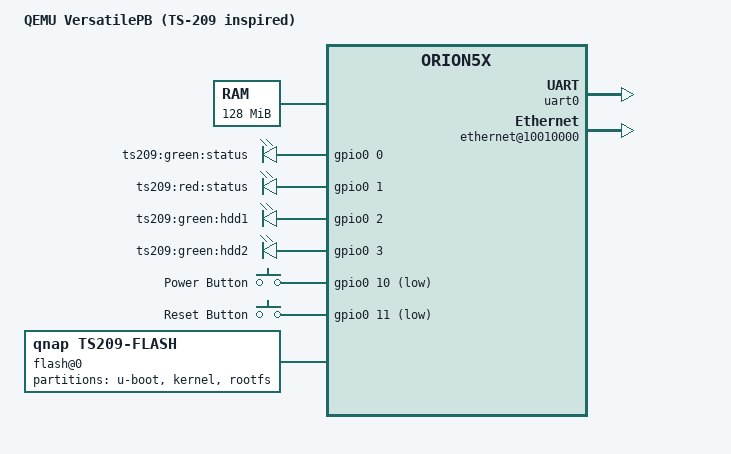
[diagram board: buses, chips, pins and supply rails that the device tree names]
/dts-v1/;

/ {
    model = "QEMU VersatilePB (TS-209 inspired)";
    compatible = "arm,versatile-pb", "qemu,versatilepb", "qnap,ts209", "marvell,orion5x";

    interrupt-parent = <&intc>;


    #address-cells = <1>;
    #size-cells = <1>;

    memory@0 {
        device_type = "memory";
        reg = <0x00000000 0x08000000>; /* 128 MB */
    };

    cpus {
        #address-cells = <1>;
        #size-cells = <0>;

        cpu@0 {
            device_type = "cpu";
            compatible = "arm,arm926ej-s";
            reg = <0>;
        };
    };

    /* ---------------------------------------------------------
     * QEMU REAL HARDWARE NODES
     * --------------------------------------------------------- */

    soc {
        compatible = "simple-bus";
        #address-cells = <1>;
        #size-cells = <1>;
        ranges;

        /* PL011 UART0 (QEMU console) */
        uart0: serial@101f1000 {
            compatible = "arm,pl011", "arm,primecell";
            reg = <0x101f1000 0x1000>;
            interrupts = <12>;
            clock-frequency = <24000000>;
        };

        /* VIC interrupt controller */
        intc: interrupt-controller@10140000 {
            compatible = "arm,pl190-vic";
            reg = <0x10140000 0x1000>;
            interrupt-controller;
            #interrupt-cells = <1>;
        };

        /* SMC91C111 Ethernet (QEMU NIC) */
        ethernet@10010000 {
            compatible = "smsc,lan91c111";
            reg = <0x10010000 0x1000>;
            interrupts = <25>;
        };
    };

    /* ---------------------------------------------------------
     * TS-209 INSPIRED NODES (FAKE BUT USEFUL FOR INITRAMFS)
     * --------------------------------------------------------- */

    /* Fake GPIO controller to mimic TS-209 layout */
    gpio0: gpio@f1010100 {
        compatible = "qnap,ts209-gpio", "gpio-sim";
        reg = <0xf1010100 0x100>;
        ngpios = <32>;

        gpio-controller;
        #gpio-cells = <2>;
    };

    /* LEDs similar to TS-209 front panel */
    leds {
        compatible = "gpio-leds";

        status_green {
            label = "ts209:green:status";
            gpios = <&gpio0 0 0>;
        };

        status_red {
            label = "ts209:red:status";
            gpios = <&gpio0 1 0>;
        };

        hdd1_led {
            label = "ts209:green:hdd1";
            gpios = <&gpio0 2 0>;
        };

        hdd2_led {
            label = "ts209:green:hdd2";
            gpios = <&gpio0 3 0>;
        };
    };

    /* Buttons similar to TS-209 */
    buttons {
        compatible = "gpio-keys";

        power {
            label = "Power Button";
            linux,code = <116>; /* KEY_POWER */
            gpios = <&gpio0 10 1>;
        };

        reset {
            label = "Reset Button";
            linux,code = <0x198>; /* KEY_RESTART */
            gpios = <&gpio0 11 1>;
        };
    };

    /* Fake flash layout for initramfs scripts */
    flash@0 {
        compatible = "qnap,ts209-flash", "mtd-rom";
        reg = <0x00000000 0x00800000>; /* 8 MB fake flash */

        partitions {
            compatible = "fixed-partitions";
            #address-cells = <1>;
            #size-cells = <1>;

            partition@0 {
                label = "u-boot";
                reg = <0x00000000 0x00040000>;
            };

            partition@40000 {
                label = "kernel";
                reg = <0x00040000 0x003c0000>;
            };

            partition@400000 {
                label = "rootfs";
                reg = <0x00400000 0x00400000>;
            };
        };
    };
};
